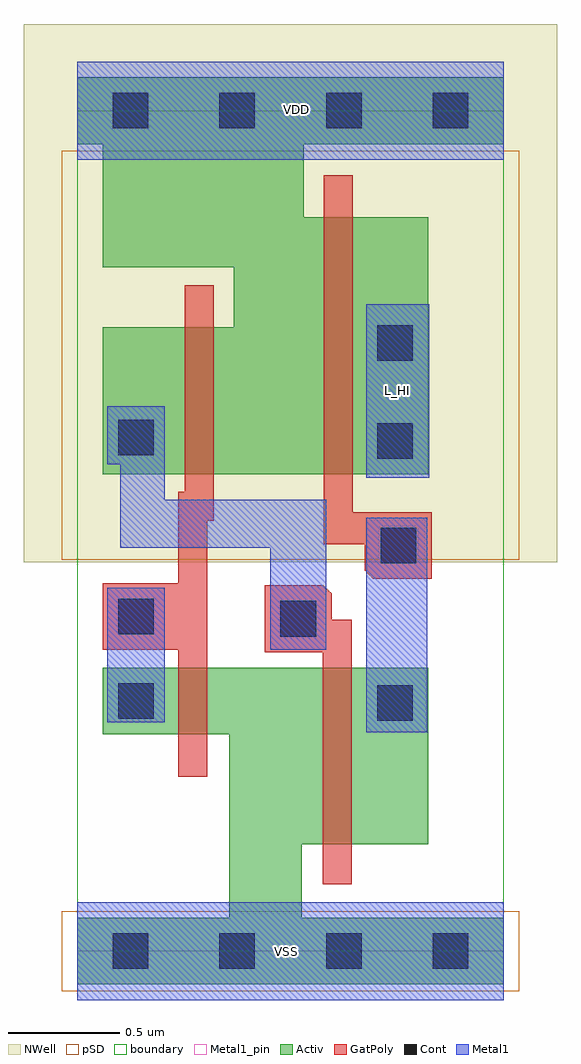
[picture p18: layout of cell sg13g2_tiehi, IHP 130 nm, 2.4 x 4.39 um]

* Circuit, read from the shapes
.subckt sg13g2_tiehi L_HI VDD VSS
XM1 VSS n1 n1 VSS sg13_lv_nmos w=0.3u l=0.13u
XM2 n2 n3 VSS VSS sg13_lv_nmos w=0.795u l=0.13u
XM3 VDD n1 n3 VDD sg13_lv_pmos w=0.66u l=0.13u
XM4 L_HI n2 VDD VDD sg13_lv_pmos w=1.155u l=0.13u
.ends

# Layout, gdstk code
import gdstk
lib = gdstk.Library(unit=1e-6, precision=1e-09)
def R(c, l, rs):  # rectangles x0, y0, x1, y1
    for r in rs: c.add(gdstk.rectangle(r[:2], r[2:], *l))
def P(c, l, *ps):  # polygons
    for p in ps: c.add(gdstk.Polygon(p, *l))
Activ = (1, 0)
GatPoly = (5, 0)
Cont = (6, 0)
Metal1 = (8, 0)
Metal1_pin = (8, 2)
pSD = (14, 0)
NWell = (31, 0)
boundary = (189, 4)

sg13g2_tiehi = lib.new_cell('sg13g2_tiehi')
P(sg13g2_tiehi, Activ, [(1.92,3.93),(0,3.93),(0,3.63),(0.115,3.63),(0.115,3.075),(0.705,3.075),(0.705,2.805),(0.115,2.805),(0.115,2.145),(1.58,2.145),(1.58,3.3),(1.02,3.3),(1.02,3.63),(1.92,3.63)],
  [(1.92,0.15),(1.01,0.15),(1.01,0.48),(1.58,0.48),(1.58,1.275),(0.115,1.275),(0.115,0.975),(0.685,0.975),(0.685,0.15),(0,0.15),(0,-0.15),(1.92,-0.15)])
P(sg13g2_tiehi, GatPoly, [(1.595,1.975),(1.24,1.975),(1.24,3.49),(1.11,3.49),(1.11,1.83),(1.295,1.83),(1.295,1.71),(1.3,1.71),(1.3,1.705),(1.305,1.705),(1.305,1.7),(1.31,1.7),(1.31,1.695),(1.315,1.695),(1.315,1.69),(1.32,1.69),(1.32,1.685),(1.325,1.685),(1.325,1.68),(1.33,1.68),(1.33,1.675),(1.595,1.675)],
  [(0.615,2.995),(0.485,2.995),(0.485,2.065),(0.455,2.065),(0.455,1.655),(0.115,1.655),(0.115,1.355),(0.455,1.355),(0.455,0.785),(0.585,0.785),(0.585,1.935),(0.615,1.935)],
  [(1.235,1.49),(1.145,1.49),(1.145,1.61),(1.14,1.61),(1.14,1.615),(1.135,1.615),(1.135,1.62),(1.13,1.62),(1.13,1.625),(1.125,1.625),(1.125,1.63),(1.12,1.63),(1.12,1.635),(1.115,1.635),(1.115,1.64),(1.11,1.64),(1.11,1.645),(0.845,1.645),(0.845,1.345),(1.105,1.345),(1.105,0.3),(1.235,0.3)])
R(sg13g2_tiehi, Cont, [(0.16,-0.08,0.32,0.08), (0.16,-0.08,0.32,0.08), (0.64,-0.08,0.8,0.08), (0.64,-0.08,0.8,0.08), (1.12,-0.08,1.28,0.08), (1.12,-0.08,1.28,0.08), (1.6,-0.08,1.76,0.08), (1.6,-0.08,1.76,0.08), (1.35,1.035,1.51,1.195), (0.185,1.045,0.345,1.205), (0.915,1.415,1.075,1.575), (0.185,1.425,0.345,1.585), (1.365,1.745,1.525,1.905), (1.35,2.215,1.51,2.375), (0.185,2.23,0.345,2.39), (1.35,2.655,1.51,2.815), (0.16,3.7,0.32,3.86), (0.16,3.7,0.32,3.86), (0.64,3.7,0.8,3.86), (0.64,3.7,0.8,3.86), (1.12,3.7,1.28,3.86), (1.12,3.7,1.28,3.86), (1.6,3.7,1.76,3.86), (1.6,3.7,1.76,3.86)])
R(sg13g2_tiehi, Metal1, [(0,-0.22,1.92,0.22), (1.3,0.985,1.575,1.95), (0.135,1.03,0.395,1.635), (1.3,2.13,1.585,2.91), (0,3.56,1.92,4)])
P(sg13g2_tiehi, Metal1, [(1.12,2.03),(0.395,2.03),(0.395,2.45),(0.135,2.45),(0.135,2.19),(0.195,2.19),(0.195,1.815),(0.87,1.815),(0.87,1.355),(1.12,1.355)])
R(sg13g2_tiehi, Metal1_pin, [(0,-0.22,1.92,0.22), (1.3,2.13,1.585,2.91), (0,3.56,1.92,4)])
R(sg13g2_tiehi, pSD, [(-0.07,-0.18,1.99,0.18), (-0.07,1.76,1.99,3.6)])
R(sg13g2_tiehi, NWell, [(-0.24,1.75,2.16,4.17)])
R(sg13g2_tiehi, boundary, [(0,0,1.92,3.78)])
sg13g2_tiehi.add(gdstk.Label('L_HI', (1.443,2.52), layer=8, texttype=25))
sg13g2_tiehi.add(gdstk.Label('VDD', (0.985,3.785), layer=8, texttype=25))
sg13g2_tiehi.add(gdstk.Label('VSS', (0.94,0), layer=8, texttype=25))

lib.write_gds('sg13g2_tiehi.gds')
